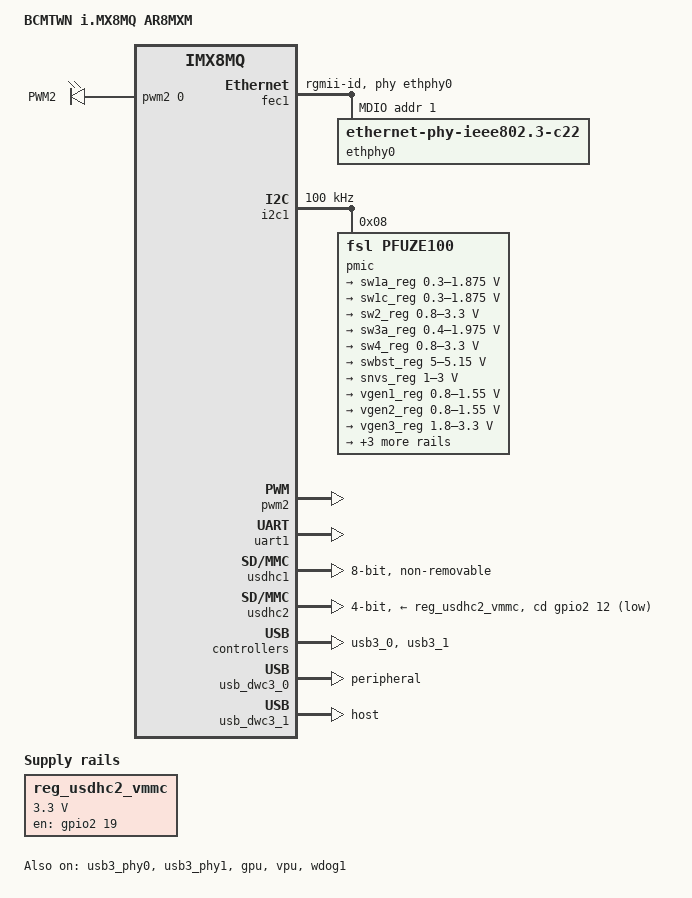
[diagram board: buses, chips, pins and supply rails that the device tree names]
/*
 * This program is free software; you can redistribute it and/or
 * modify it under the terms of the GNU General Public License
 * as published by the Free Software Foundation; either version 2
 * of the License, or (at your option) any later version.
 *
 * This program is distributed in the hope that it will be useful,
 * but WITHOUT ANY WARRANTY; without even the implied warranty of
 * MERCHANTABILITY or FITNESS FOR A PARTICULAR PURPOSE.  See the
 * GNU General Public License for more details.
 */

/dts-v1/;

/* First 128KB is for PSCI ATF. */
/memreserve/ 0x40000000 0x00020000;

#include "fsl-imx8mq.dtsi"

/ {
	model = "BCMTWN i.MX8MQ AR8MXM";
	compatible = "fsl,imx8mq-ar8mxm", "fsl,imx8mq";

	chosen {
		bootargs = "console=ttymxc0,115200 earlycon=ec_imx6q,0x30860000,115200";
		stdout-path = &uart1;
	};

	regulators {
		compatible = "simple-bus";
		#address-cells = <1>;
		#size-cells = <0>;

		reg_usdhc2_vmmc: usdhc2_vmmc {
			compatible = "regulator-fixed";
			regulator-name = "VSD_3V3";
			regulator-min-microvolt = <3300000>;
			regulator-max-microvolt = <3300000>;
			gpio = <&gpio2 19 GPIO_ACTIVE_HIGH>;
			enable-active-high;
		};
	};

	pwmleds {
		compatible = "pwm-leds";

		ledpwm2 {
			label = "PWM2";
			pwms = <&pwm2 0 50000>;
			max-brightness = <255>;
		};
	};
};

&iomuxc {
	pinctrl-names = "default";

	imx8mq-ar8mxm {
        init_ar8mxm_pins: init_ar8mxm_pinsGrp {
			fsl,pins = <
                MX8MQ_IOMUXC_GPIO1_IO07_GPIO1_IO7          0x00001816		/* PMIC_nINT */
                MX8MQ_IOMUXC_GPIO1_IO11_GPIO1_IO11         0x00000016		/* USB30HUB_RST */
                MX8MQ_IOMUXC_SAI1_MCLK_GPIO4_IO20          0x00000056		/* CAN_INT */
                MX8MQ_IOMUXC_SAI1_RXFS_GPIO4_IO0           0x00000016		/* USB_OC_B */
                MX8MQ_IOMUXC_SAI5_RXD0_GPIO3_IO21          0x00000016		/* DSI85_RESETN */
                MX8MQ_IOMUXC_SPDIF_EXT_CLK_GPIO5_IO5       0x00000016		/* FANOUT */


                MX8MQ_IOMUXC_GPIO1_IO10_GPIO1_IO10         0x00000016		/* SPK_DET */
                MX8MQ_IOMUXC_GPIO1_IO12_GPIO1_IO12         0x00000016		/* MIC_DET */


                MX8MQ_IOMUXC_SAI3_RXC_GPIO4_IO29           0x00000016		/* M2B_nRST */
                MX8MQ_IOMUXC_SAI3_RXFS_GPIO4_IO28          0x00000016		/* M2B_nDIS */


                MX8MQ_IOMUXC_SPDIF_RX_GPIO5_IO4            0x00000016		/* BL0_PWREN */
                MX8MQ_IOMUXC_SPDIF_TX_GPIO5_IO3            0x00000016		/* L0_PWREN */
                MX8MQ_IOMUXC_SAI1_TXC_GPIO4_IO11           0x00000016		/* LVDS0_TS_INT */


                MX8MQ_IOMUXC_NAND_CE2_B_GPIO3_IO3          0x00000016		/* DSI_TS_nINT */
                MX8MQ_IOMUXC_NAND_CE3_B_GPIO3_IO4          0x00000016		/* DSI_EN */


                MX8MQ_IOMUXC_SAI5_RXD1_GPIO3_IO22          0x19		/* ENET_nRST */
                MX8MQ_IOMUXC_SAI5_RXD2_GPIO3_IO23          0x19		/* ENET_nINT */


                MX8MQ_IOMUXC_SAI5_RXFS_GPIO3_IO19          0x00000016		/* CSI_P1_PWDN */
                MX8MQ_IOMUXC_SAI5_RXC_GPIO3_IO20           0x00000016		/* CSI_P2_PWDN */


				/* PWM */
                MX8MQ_IOMUXC_GPIO1_IO01_PWM1_OUT           0x16		/* DSI_BL_PWM */
                MX8MQ_IOMUXC_GPIO1_IO13_PWM2_OUT           0x16		/* PWM_LED */
                MX8MQ_IOMUXC_SAI1_TXFS_GPIO4_IO10          0x00001816		/* LVDS0_BL_PWM !? NOT PWM PIN */


				/* DIO CONN */
                MX8MQ_IOMUXC_NAND_RE_B_GPIO3_IO15          0x00000016
                MX8MQ_IOMUXC_NAND_READY_B_GPIO3_IO16  	   0x00000016
                MX8MQ_IOMUXC_NAND_WE_B_GPIO3_IO17          0x00000016
                MX8MQ_IOMUXC_NAND_WP_B_GPIO3_IO18          0x00000016
                MX8MQ_IOMUXC_NAND_DATA04_GPIO3_IO10        0x00000016
                MX8MQ_IOMUXC_NAND_DATA05_GPIO3_IO11        0x00000016
                MX8MQ_IOMUXC_NAND_DATA06_GPIO3_IO12        0x00000016
                MX8MQ_IOMUXC_NAND_DATA07_GPIO3_IO13        0x00000016


				/* CLK */
                MX8MQ_IOMUXC_GPIO1_IO00_ANAMIX_REF_CLK_32K 0x00000014
                MX8MQ_IOMUXC_GPIO1_IO14_CCMSRCGPCMIX_CLKO1 0x00000016
                MX8MQ_IOMUXC_GPIO1_IO15_CCMSRCGPCMIX_CLKO2 0x00000016
			>;
        };

		pinctrl_fec1: fec1grp {
			fsl,pins = <
				MX8MQ_IOMUXC_ENET_MDC_ENET1_MDC		0x3
				MX8MQ_IOMUXC_ENET_MDIO_ENET1_MDIO	0x23
				MX8MQ_IOMUXC_ENET_TD3_ENET1_RGMII_TD3	0x1f
				MX8MQ_IOMUXC_ENET_TD2_ENET1_RGMII_TD2	0x1f
				MX8MQ_IOMUXC_ENET_TD1_ENET1_RGMII_TD1	0x1f
				MX8MQ_IOMUXC_ENET_TD0_ENET1_RGMII_TD0	0x1f
				MX8MQ_IOMUXC_ENET_RD3_ENET1_RGMII_RD3	0x91
				MX8MQ_IOMUXC_ENET_RD2_ENET1_RGMII_RD2	0x91
				MX8MQ_IOMUXC_ENET_RD1_ENET1_RGMII_RD1	0x91
				MX8MQ_IOMUXC_ENET_RD0_ENET1_RGMII_RD0	0x91
				MX8MQ_IOMUXC_ENET_TXC_ENET1_RGMII_TXC	0x1f
				MX8MQ_IOMUXC_ENET_RXC_ENET1_RGMII_RXC	0x91
				MX8MQ_IOMUXC_ENET_RX_CTL_ENET1_RGMII_RX_CTL	0x91
				MX8MQ_IOMUXC_ENET_TX_CTL_ENET1_RGMII_TX_CTL	0x1f
				/* MX8MQ_IOMUXC_GPIO1_IO09_GPIO1_IO9	0x19 */
			>;
		};

		pinctrl_uart1: uart1grp {
			fsl,pins = <
                MX8MQ_IOMUXC_UART1_RXD_UART1_DCE_RX              0x79
                MX8MQ_IOMUXC_UART1_TXD_UART1_DCE_TX              0x79
			>;
		};

		pinctrl_uart3: uart3grp {
			fsl,pins = <
                MX8MQ_IOMUXC_ECSPI1_MISO_UART3_DCE_CTS_B         0x79
                MX8MQ_IOMUXC_ECSPI1_SS0_UART3_DCE_RTS_B          0x79
                MX8MQ_IOMUXC_UART3_RXD_UART3_DCE_RX              0x79
                MX8MQ_IOMUXC_UART3_TXD_UART3_DCE_TX              0x79
			>;
		};

		pinctrl_i2c1: i2c1grp {
			fsl,pins = <
                MX8MQ_IOMUXC_I2C1_SCL_I2C1_SCL               0x4000007f
                MX8MQ_IOMUXC_I2C1_SDA_I2C1_SDA               0x4000007f
			>;
		};

		pinctrl_i2c2: i2c2grp {
			fsl,pins = <
                MX8MQ_IOMUXC_I2C2_SCL_I2C2_SCL               0x4000007f
                MX8MQ_IOMUXC_I2C2_SDA_I2C2_SDA               0x4000007f
			>;
		};

		pinctrl_i2c3: i2c3grp {
			fsl,pins = <
                MX8MQ_IOMUXC_I2C3_SCL_I2C3_SCL                0x4000007f
                MX8MQ_IOMUXC_I2C3_SDA_I2C3_SDA                0x4000007f
			>;
		};

		pinctrl_pcie0: pcie0grp {
			fsl,pins = <
                MX8MQ_IOMUXC_GPIO1_IO05_GPIO1_IO5          0x16	/* PCIE_WAKE_R_N */
                MX8MQ_IOMUXC_UART4_RXD_GPIO5_IO28      	   0x16
			>;
		};

		pinctrl_pcie1: pcie1grp {
			fsl,pins = <
                MX8MQ_IOMUXC_GPIO1_IO08_GPIO1_IO8          0x16	/* PCIe_nRST */
                MX8MQ_IOMUXC_GPIO1_IO09_GPIO1_IO9          0x16	/* PCIe_nDIS */
                MX8MQ_IOMUXC_SAI1_RXC_GPIO4_IO1            0x16	/* PCIe_nWAKE */
                MX8MQ_IOMUXC_UART4_TXD_PCIE2_CLKREQ_B      0x16
			>;
		};

		pinctrl_pwm2: pwm2grp {
			fsl,pins = <
                MX8MQ_IOMUXC_GPIO1_IO13_PWM2_OUT         0x00000016
			>;
		};

		pinctrl_usdhc1: usdhc1grp {
			fsl,pins = <
				MX8MQ_IOMUXC_SD1_CLK_USDHC1_CLK			0x83
				MX8MQ_IOMUXC_SD1_CMD_USDHC1_CMD			0xc3
				MX8MQ_IOMUXC_SD1_DATA0_USDHC1_DATA0		0xc3
				MX8MQ_IOMUXC_SD1_DATA1_USDHC1_DATA1		0xc3
				MX8MQ_IOMUXC_SD1_DATA2_USDHC1_DATA2		0xc3
				MX8MQ_IOMUXC_SD1_DATA3_USDHC1_DATA3		0xc3
				MX8MQ_IOMUXC_SD1_DATA4_USDHC1_DATA4		0xc3
				MX8MQ_IOMUXC_SD1_DATA5_USDHC1_DATA5		0xc3
				MX8MQ_IOMUXC_SD1_DATA6_USDHC1_DATA6		0xc3
				MX8MQ_IOMUXC_SD1_DATA7_USDHC1_DATA7		0xc3
				MX8MQ_IOMUXC_SD1_STROBE_USDHC1_STROBE 		0x83
				MX8MQ_IOMUXC_SD1_RESET_B_USDHC1_RESET_B		0xc1
			>;
		};

		pinctrl_usdhc1_100mhz: usdhc1grp100mhz {
			fsl,pins = <
				MX8MQ_IOMUXC_SD1_CLK_USDHC1_CLK			0x85
				MX8MQ_IOMUXC_SD1_CMD_USDHC1_CMD			0xc5
				MX8MQ_IOMUXC_SD1_DATA0_USDHC1_DATA0		0xc5
				MX8MQ_IOMUXC_SD1_DATA1_USDHC1_DATA1		0xc5
				MX8MQ_IOMUXC_SD1_DATA2_USDHC1_DATA2		0xc5
				MX8MQ_IOMUXC_SD1_DATA3_USDHC1_DATA3		0xc5
				MX8MQ_IOMUXC_SD1_DATA4_USDHC1_DATA4		0xc5
				MX8MQ_IOMUXC_SD1_DATA5_USDHC1_DATA5		0xc5
				MX8MQ_IOMUXC_SD1_DATA6_USDHC1_DATA6		0xc5
				MX8MQ_IOMUXC_SD1_DATA7_USDHC1_DATA7		0xc5
				MX8MQ_IOMUXC_SD1_STROBE_USDHC1_STROBE 		0x85
				MX8MQ_IOMUXC_SD1_RESET_B_USDHC1_RESET_B		0xc1
			>;
		};

		pinctrl_usdhc1_200mhz: usdhc1grp200mhz {
			fsl,pins = <
				MX8MQ_IOMUXC_SD1_CLK_USDHC1_CLK			0x87
				MX8MQ_IOMUXC_SD1_CMD_USDHC1_CMD			0xc7
				MX8MQ_IOMUXC_SD1_DATA0_USDHC1_DATA0		0xc7
				MX8MQ_IOMUXC_SD1_DATA1_USDHC1_DATA1		0xc7
				MX8MQ_IOMUXC_SD1_DATA2_USDHC1_DATA2		0xc7
				MX8MQ_IOMUXC_SD1_DATA3_USDHC1_DATA3		0xc7
				MX8MQ_IOMUXC_SD1_DATA4_USDHC1_DATA4		0xc7
				MX8MQ_IOMUXC_SD1_DATA5_USDHC1_DATA5		0xc7
				MX8MQ_IOMUXC_SD1_DATA6_USDHC1_DATA6		0xc7
				MX8MQ_IOMUXC_SD1_DATA7_USDHC1_DATA7		0xc7
				MX8MQ_IOMUXC_SD1_STROBE_USDHC1_STROBE 		0x87
				MX8MQ_IOMUXC_SD1_RESET_B_USDHC1_RESET_B		0xc1
			>;
		};

		pinctrl_usdhc2_gpio: usdhc2grpgpio {
			fsl,pins = <
				MX8MQ_IOMUXC_SD2_CD_B_GPIO2_IO12	0x41
				MX8MQ_IOMUXC_SD2_RESET_B_GPIO2_IO19	0x41
			>;
		};

		pinctrl_usdhc2: usdhc2grp {
			fsl,pins = <
				MX8MQ_IOMUXC_SD2_CLK_USDHC2_CLK			0x83
				MX8MQ_IOMUXC_SD2_CMD_USDHC2_CMD			0xc3
				MX8MQ_IOMUXC_SD2_DATA0_USDHC2_DATA0		0xc3
				MX8MQ_IOMUXC_SD2_DATA1_USDHC2_DATA1		0xc3
				MX8MQ_IOMUXC_SD2_DATA2_USDHC2_DATA2		0xc3
				MX8MQ_IOMUXC_SD2_DATA3_USDHC2_DATA3		0xc3
				MX8MQ_IOMUXC_GPIO1_IO04_USDHC2_VSELECT		0xc1
			>;
		};

		pinctrl_usdhc2_100mhz: usdhc2grp100mhz {
			fsl,pins = <
				MX8MQ_IOMUXC_SD2_CLK_USDHC2_CLK			0x85
				MX8MQ_IOMUXC_SD2_CMD_USDHC2_CMD			0xc5
				MX8MQ_IOMUXC_SD2_DATA0_USDHC2_DATA0		0xc5
				MX8MQ_IOMUXC_SD2_DATA1_USDHC2_DATA1		0xc5
				MX8MQ_IOMUXC_SD2_DATA2_USDHC2_DATA2		0xc5
				MX8MQ_IOMUXC_SD2_DATA3_USDHC2_DATA3		0xc5
				MX8MQ_IOMUXC_GPIO1_IO04_USDHC2_VSELECT		0xc1
			>;
		};

		pinctrl_usdhc2_200mhz: usdhc2grp200mhz {
			fsl,pins = <
				MX8MQ_IOMUXC_SD2_CLK_USDHC2_CLK			0x87
				MX8MQ_IOMUXC_SD2_CMD_USDHC2_CMD			0xc7
				MX8MQ_IOMUXC_SD2_DATA0_USDHC2_DATA0		0xc7
				MX8MQ_IOMUXC_SD2_DATA1_USDHC2_DATA1		0xc7
				MX8MQ_IOMUXC_SD2_DATA2_USDHC2_DATA2		0xc7
				MX8MQ_IOMUXC_SD2_DATA3_USDHC2_DATA3		0xc7
				MX8MQ_IOMUXC_GPIO1_IO04_USDHC2_VSELECT		0xc1
			>;
		};

		pinctrl_ecspi2: ecspi2grp {
			fsl,pins = <
				MX8MQ_IOMUXC_ECSPI2_MISO_ECSPI2_MISO	0x100b1
				MX8MQ_IOMUXC_ECSPI2_MOSI_ECSPI2_MOSI	0x100b1
				MX8MQ_IOMUXC_ECSPI2_SCLK_ECSPI2_SCLK	0x100b1
			>;
		};

		pinctrl_ecspi2_cs: ecspi2cs {
			fsl,pins = <
				MX8MQ_IOMUXC_ECSPI2_SS0_GPIO5_IO13		0x80000000
			>;
		};

		pinctrl_wdog: wdoggrp {
			fsl,pins = <
                MX8MQ_IOMUXC_GPIO1_IO02_WDOG1_WDOG_B       0xc6
			>;
		};

	};
};

&fec1 {
	pinctrl-names = "default";
	pinctrl-0 = <&pinctrl_fec1>;
	phy-mode = "rgmii-id";
	phy-handle = <&ethphy0>;
	fsl,magic-packet;
	status = "okay";

	mdio {
		#address-cells = <1>;
		#size-cells = <0>;

		ethphy0: ethernet-phy@1 {
			compatible = "ethernet-phy-ieee802.3-c22";
			reg = <1>;
			/*
			at803x,led-act-blind-workaround;
			at803x,eee-disabled;
			*/
		};
	};
};

&i2c1 {
	clock-frequency = <100000>;
	pinctrl-names = "default";
	pinctrl-0 = <&pinctrl_i2c1>;
	status = "okay";

	pmic: pfuze100@08 {
		compatible = "fsl,pfuze100";
		reg = <0x08>;

		regulators {
			sw1a_reg: sw1ab {
				regulator-min-microvolt = <300000>;
				regulator-max-microvolt = <1875000>;
				regulator-always-on;
			};

			sw1c_reg: sw1c {
				regulator-min-microvolt = <300000>;
				regulator-max-microvolt = <1875000>;
				regulator-always-on;
			};

			sw2_reg: sw2 {
				regulator-min-microvolt = <800000>;
				regulator-max-microvolt = <3300000>;
				regulator-always-on;
			};

			sw3a_reg: sw3ab {
				regulator-min-microvolt = <400000>;
				regulator-max-microvolt = <1975000>;
				regulator-always-on;
			};

			sw4_reg: sw4 {
				regulator-min-microvolt = <800000>;
				regulator-max-microvolt = <3300000>;
				regulator-always-on;
			};

			swbst_reg: swbst {
				regulator-min-microvolt = <5000000>;
				regulator-max-microvolt = <5150000>;
			};

			snvs_reg: vsnvs {
				regulator-min-microvolt = <1000000>;
				regulator-max-microvolt = <3000000>;
				regulator-always-on;
			};

			vref_reg: vrefddr {
				regulator-always-on;
			};

			vgen1_reg: vgen1 {
				regulator-min-microvolt = <800000>;
				regulator-max-microvolt = <1550000>;
			};

			vgen2_reg: vgen2 {
				regulator-min-microvolt = <800000>;
				regulator-max-microvolt = <1550000>;
				regulator-always-on;
			};

			vgen3_reg: vgen3 {
				regulator-min-microvolt = <1800000>;
				regulator-max-microvolt = <3300000>;
				regulator-always-on;
			};

			vgen4_reg: vgen4 {
				regulator-min-microvolt = <1800000>;
				regulator-max-microvolt = <3300000>;
				regulator-always-on;
			};

			vgen5_reg: vgen5 {
				regulator-min-microvolt = <1800000>;
				regulator-max-microvolt = <3300000>;
				regulator-always-on;
			};

			vgen6_reg: vgen6 {
				regulator-min-microvolt = <1800000>;
				regulator-max-microvolt = <3300000>;
			};
		};
	};
};

&i2c2 {
	clock-frequency = <100000>;
	pinctrl-names = "default";
	pinctrl-0 = <&pinctrl_i2c2>;
	status = "disabled";
};

&i2c3 {
	clock-frequency = <100000>;
	pinctrl-names = "default";
	pinctrl-0 = <&pinctrl_i2c3>;
	status = "disabled";
};

&pcie0{
	pinctrl-names = "default";
	pinctrl-0 = <&pinctrl_pcie0>;
	clkreq-gpio = <&gpio5 28 GPIO_ACTIVE_LOW>;
	ext_osc = <1>;
	hard-wired = <1>;
	status = "disabled";
};

&pcie1{
	pinctrl-names = "default";
	pinctrl-0 = <&pinctrl_pcie1>;
	clkreq-gpio = <&gpio5 21 GPIO_ACTIVE_LOW>;
	disable-gpio = <&gpio5 10 GPIO_ACTIVE_LOW>;
	reset-gpio = <&gpio5 12 GPIO_ACTIVE_LOW>;
	status = "disabled";
};

&pwm2 {
	pinctrl-names = "default";
	pinctrl-0 = <&pinctrl_pwm2>;
	status = "okay";
};

&uart1 { /* console */
	pinctrl-names = "default";
	pinctrl-0 = <&pinctrl_uart1>;
	assigned-clocks = <&clk IMX8MQ_CLK_UART1_SRC>;
	assigned-clock-parents = <&clk IMX8MQ_CLK_25M>;
	status = "okay";
};

&uart3 { /* BT */
	pinctrl-names = "default";
	pinctrl-0 = <&pinctrl_uart3>;
	assigned-clocks = <&clk IMX8MQ_CLK_UART3_SRC>;
	assigned-clock-parents = <&clk IMX8MQ_SYS1_PLL_80M>;
	fsl,uart-has-rtscts;
	status = "disabled";
};

&usdhc1 {
	pinctrl-names = "default", "state_100mhz", "state_200mhz";
	pinctrl-0 = <&pinctrl_usdhc1>;
	pinctrl-1 = <&pinctrl_usdhc1_100mhz>;
	pinctrl-2 = <&pinctrl_usdhc1_200mhz>;
	bus-width = <8>;
	non-removable;
	status = "okay";
};

&usdhc2 {
	pinctrl-names = "default", "state_100mhz", "state_200mhz";
	pinctrl-0 = <&pinctrl_usdhc2>, <&pinctrl_usdhc2_gpio>;
	pinctrl-1 = <&pinctrl_usdhc2_100mhz>, <&pinctrl_usdhc2_gpio>;
	pinctrl-2 = <&pinctrl_usdhc2_200mhz>, <&pinctrl_usdhc2_gpio>;
	bus-width = <4>;
	cd-gpios = <&gpio2 12 GPIO_ACTIVE_LOW>;
	vmmc-supply = <&reg_usdhc2_vmmc>;
	status = "okay";
};

/*
&ecspi2 {
	fsl,spi-num-chipselects = <1>;
	cs-gpios = <&gpio5 13 0>;
	pinctrl-names = "default";
	pinctrl-0 = <&pinctrl_ecspi2 &pinctrl_ecspi2_cs>;
	status = "disabled";

	flash: m25p80@0 {
		#address-cells = <1>;
		#size-cells = <1>;
		compatible = "st,m25p32";
		spi-max-frequency = <20000000>;
		reg = <0>;
	};
};
*/

&usb3_phy0 {
	status = "okay";
};

&usb3_0 {
	status = "okay";
};

&usb_dwc3_0 {
	status = "okay";
	dr_mode = "peripheral";
};

&usb3_phy1 {
	status = "okay";
};

&usb3_1 {
	status = "okay";
};

&usb_dwc3_1 {
	status = "okay";
	dr_mode = "host";
};

&gpu {
	status = "okay";
};

&vpu {
	status = "okay";
};

&wdog1 {
	pinctrl-names = "default";
	pinctrl-0 = <&pinctrl_wdog>;
	fsl,ext-reset-output;
	status = "okay";
};

